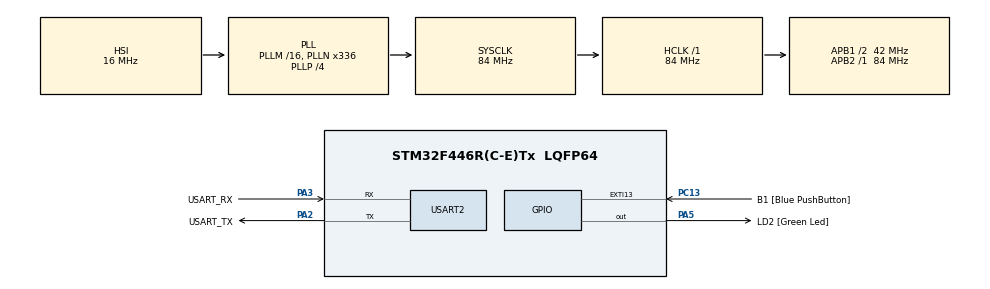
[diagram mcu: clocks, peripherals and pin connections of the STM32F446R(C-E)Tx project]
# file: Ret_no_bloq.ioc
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Mcu.Family=STM32F4
Mcu.Name=STM32F446R(C-E)Tx
Mcu.Package=LQFP64
NVIC.EXTI15_10_IRQn=true\:0\:0\:false\:false\:true\:true\:true\:true
NVIC.PriorityGroup=NVIC_PRIORITYGROUP_0
PA13.GPIO_Label=TMS
PA13.Mode=Serial_Wire
PA13.Signal=SYS_JTMS-SWDIO
PA14.GPIO_Label=TCK
PA14.Mode=Serial_Wire
PA14.Signal=SYS_JTCK-SWCLK
PA2.GPIO_Label=USART_TX
PA2.Mode=Asynchronous
PA2.Signal=USART2_TX
PA3.GPIO_Label=USART_RX
PA3.Mode=Asynchronous
PA3.Signal=USART2_RX
PA5.GPIO_Label=LD2 [Green Led]
PA5.Signal=GPIO_Output
PB3.GPIO_Label=SWO
PB3.Signal=SYS_JTDO-SWO
PC13.GPIO_Label=B1 [Blue PushButton]
PC13.GPIO_ModeDefaultEXTI=GPIO_MODE_IT_FALLING
PC13.Signal=GPXTI13
PC14-OSC32_IN.Mode=LSE-External-Oscillator
PC14-OSC32_IN.Signal=RCC_OSC32_IN
PC15-OSC32_OUT.Mode=LSE-External-Oscillator
PC15-OSC32_OUT.Signal=RCC_OSC32_OUT
PH0-OSC_IN.Mode=HSE-External-Oscillator
PH0-OSC_IN.Signal=RCC_OSC_IN
PH1-OSC_OUT.Mode=HSE-External-Oscillator
PH1-OSC_OUT.Signal=RCC_OSC_OUT
ProjectManager.HeapSize=0x200
ProjectManager.StackSize=0x400
ProjectManager.TargetToolchain=STM32CubeIDE
RCC.48MHZClocksFreq_Value=84000000
RCC.AHBFreq_Value=84000000
RCC.APB1CLKDivider=RCC_HCLK_DIV2
RCC.APB1Freq_Value=42000000
RCC.APB1TimFreq_Value=84000000
RCC.APB2Freq_Value=84000000
RCC.APB2TimFreq_Value=84000000
RCC.CortexFreq_Value=84000000
RCC.FLatency-AdvancedSettings=FLASH_LATENCY_2
RCC.HCLKFreq_Value=84000000
RCC.HSE_VALUE=8000000
RCC.HSI_VALUE=16000000
RCC.PLLN=336
RCC.PLLP=RCC_PLLP_DIV4
RCC.SYSCLKFreq_VALUE=84000000
RCC.SYSCLKSource=RCC_SYSCLKSOURCE_PLLCLK
RCC.USBFreq_Value=168000000
RCC.VCOOutputFreq_Value=336000000
USART2.VirtualMode=VM_ASYNC
board=NUCLEO-F446RE

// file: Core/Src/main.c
/* USER CODE BEGIN Header */
/**
  ******************************************************************************
  * @file           : main.c
  * @brief          : Main program body
  ******************************************************************************
  * @attention
  *
  * Copyright (c) 2026 STMicroelectronics.
  * All rights reserved.
  *
  * This software is licensed under terms that can be found in the LICENSE file
  * in the root directory of this software component.
  * If no LICENSE file comes with this software, it is provided AS-IS.
  *
  ******************************************************************************
  */
/* USER CODE END Header */
#include "main.h"
#include "usart.h"
#include "gpio.h"

/* USER CODE BEGIN Includes */
#include "del.h"
/* USER CODE END Includes */

/* USER CODE BEGIN PD */
#define LED_GREEN GPIO_PIN_5
#define STATES 4
#define ST_A 500
#define ST_B 100
#define ST_C 100
#define ST_D 1000
#define Q_BLINKS 5
/* USER CODE END PD */

void SystemClock_Config(void);

int main(void)
{

  /* USER CODE BEGIN 1 */
	uint32_t del_[STATES]={ST_A, ST_B, ST_C, ST_D};
	delay_t del;
	uint32_t i = 0, cont = 0;

  /* USER CODE END 1 */

  /* MCU Configuration--------------------------------------------------------*/

  /* Reset of all peripherals, Initializes the Flash interface and the Systick. */
  HAL_Init();

  /* Configure the system clock */
  SystemClock_Config();

  /* Initialize all configured peripherals */
  MX_GPIO_Init();
  MX_USART2_UART_Init();

  /* Infinite loop */
  /* USER CODE BEGIN WHILE */
  delayInit(&del, del_[i]);
  while (1)
  {
    /* USER CODE END WHILE */

    /* USER CODE BEGIN 3 */
	  if(!(delayRead(&del))){
		  HAL_GPIO_TogglePin(GPIOA, LED_GREEN);
		  cont++;
	  }
	  if(cont >= 2 * Q_BLINKS){
		  cont = 0;
		  i++;
		  if(i > STATES - 1)
			  i = 0;
	  }
	  delayWrite(&del, del_[i]);
  }

  /* USER CODE END 3 */
}

void SystemClock_Config(void)
{
  RCC_OscInitTypeDef RCC_OscInitStruct = {0};
  RCC_ClkInitTypeDef RCC_ClkInitStruct = {0};

  /** Configure the main internal regulator output voltage
  */
  __HAL_RCC_PWR_CLK_ENABLE();
  __HAL_PWR_VOLTAGESCALING_CONFIG(PWR_REGULATOR_VOLTAGE_SCALE3);

  /** Initializes the RCC Oscillators according to the specified parameters
  * in the RCC_OscInitTypeDef structure.
  */
  RCC_OscInitStruct.OscillatorType = RCC_OSCILLATORTYPE_HSI;
  RCC_OscInitStruct.HSIState = RCC_HSI_ON;
  RCC_OscInitStruct.HSICalibrationValue = RCC_HSICALIBRATION_DEFAULT;
  RCC_OscInitStruct.PLL.PLLState = RCC_PLL_ON;
  RCC_OscInitStruct.PLL.PLLSource = RCC_PLLSOURCE_HSI;
  RCC_OscInitStruct.PLL.PLLM = 16;
  RCC_OscInitStruct.PLL.PLLN = 336;
  RCC_OscInitStruct.PLL.PLLP = RCC_PLLP_DIV4;
  RCC_OscInitStruct.PLL.PLLQ = 2;
  RCC_OscInitStruct.PLL.PLLR = 2;
  if (HAL_RCC_OscConfig(&RCC_OscInitStruct) != HAL_OK)
  {
    Error_Handler();
  }

  /** Initializes the CPU, AHB and APB buses clocks
  */
  RCC_ClkInitStruct.ClockType = RCC_CLOCKTYPE_HCLK|RCC_CLOCKTYPE_SYSCLK
                              |RCC_CLOCKTYPE_PCLK1|RCC_CLOCKTYPE_PCLK2;
  RCC_ClkInitStruct.SYSCLKSource = RCC_SYSCLKSOURCE_PLLCLK;
  RCC_ClkInitStruct.AHBCLKDivider = RCC_SYSCLK_DIV1;
  RCC_ClkInitStruct.APB1CLKDivider = RCC_HCLK_DIV2;
  RCC_ClkInitStruct.APB2CLKDivider = RCC_HCLK_DIV1;

  if (HAL_RCC_ClockConfig(&RCC_ClkInitStruct, FLASH_LATENCY_2) != HAL_OK)
  {
    Error_Handler();
  }
}

void Error_Handler(void)
{
  __disable_irq();
  while (1)
  {
  }
}
